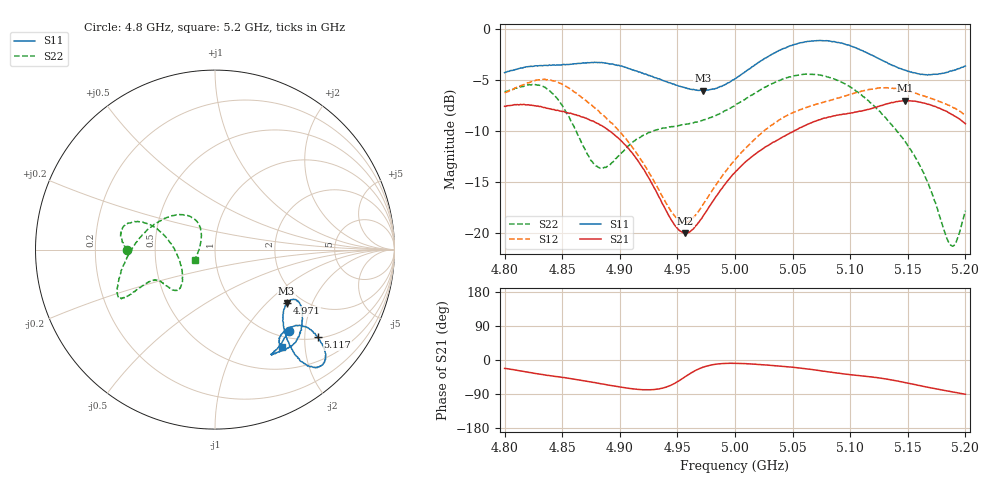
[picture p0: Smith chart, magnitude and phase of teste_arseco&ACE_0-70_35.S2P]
! Network Analyzer HP8722D
! Hewlett-Packard
! Data name: Linha & Wilkinson
! Saver's name: Rodrigo Anjos
! Comments: Teste da utilização de aquisição
! continua pelo VNA HP8722D
! Time and date: 8/5/2025 13:03
!  Frequency  S11  S21  S12  S22
# HZ  S  MA R 50
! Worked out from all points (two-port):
!   401 points, 4.8 GHz to 5.2 GHz, reference 50 ohm
!   highest |S21| = -7.04 dB at 5.148 GHz (marker M1); lowest = -20.0 dB at 4.957 GHz (marker M2)
!   |S21| within 3 dB of the highest: start of sweep to 4.891 GHz; 5.051 GHz to end of sweep
!   lowest |S11| = -6.0 dB at 4.972 GHz (marker M3), VSWR 2.99, Z = 83.2 - j66.4 ohm
!   |S11| at or under -10 dB: nowhere
!   |S22| runs from -21.3 to -4.4 dB; largest |S21 - S12| = 0.95
!   S11 on the Smith chart (normalised r, x): 4.8 GHz: 1.14, -1.64; 4.971 GHz: 1.68, -1.33; 5.117 GHz: 1.04, -2.32; 5.2 GHz: 0.82, -1.57
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4.8e9  0.6107 -47.6  0.4171 -22.2  0.4877 -175.9  0.492 -180.0
4.836e9  0.6629 -61.5  0.409 -39.8  0.5635 168.1  0.5114 164.1
4.851e9  0.6701 -60.0  0.3941 -46.2  0.5314 158.6  0.412 159.1
4.867e9  0.679 -55.0  0.3698 -54.1  0.4601 151.0  0.2746 166.8
4.877e9  0.6838 -51.6  0.3531 -59.2  0.4153 147.1  0.2194 -177.2
4.886e9  0.6823 -48.5  0.3306 -63.7  0.3759 144.1  0.2086 -158.3
4.91e9  0.6334 -40.1  0.2491 -75.5  0.2673 137.6  0.2745 -133.4
4.934e9  0.57 -33.1  0.1497 -76.3  0.1621 141.1  0.3215 -135.5
4.957e9  0.5145 -32.6  0.09964 -43.5  0.1123 174.5  0.3407 -145.2
4.971e9  0.4999 -36.5  0.1172 -20.7  0.1342 -162.3  0.3547 -150.5
4.972e9  0.4987 -36.9  0.1199 -19.0  0.1368 -161.1  0.3565 -150.9
5e9  0.5696 -48.0  0.1977 -8.8  0.2283 -146.8  0.4225 -153.9
5.039e9  0.7878 -52.4  0.29 -16.0  0.3595 -148.0  0.5592 -152.1
5.067e9  0.8735 -48.3  0.3479 -25.1  0.4216 -154.5  0.5985 -155.0
5.088e9  0.8612 -44.3  0.3772 -34.1  0.4557 -160.0  0.562 -162.4
5.117e9  0.7514 -40.4  0.4044 -44.2  0.5049 -172.5  0.4368 174.2
5.134e9  0.6747 -40.2  0.4318 -51.5  0.513 177.4  0.3491 153.2
5.148e9  0.6274 -42.6  0.4449 -59.8  0.4989 169.1  0.2787 135.6
5.166e9  0.5969 -48.4  0.4299 -70.9  0.4639 161.2  0.1831 122.6
5.187e9  0.6216 -54.8  0.3842 -83.3  0.4188 153.7  0.08713 158.7
5.192e9  0.6317 -55.5  0.3699 -85.9  0.4044 152.1  0.09004 -178.1
5.2e9  0.6578 -55.7  0.3426 -90.5  0.3786 149.4  0.1282 -152.2
